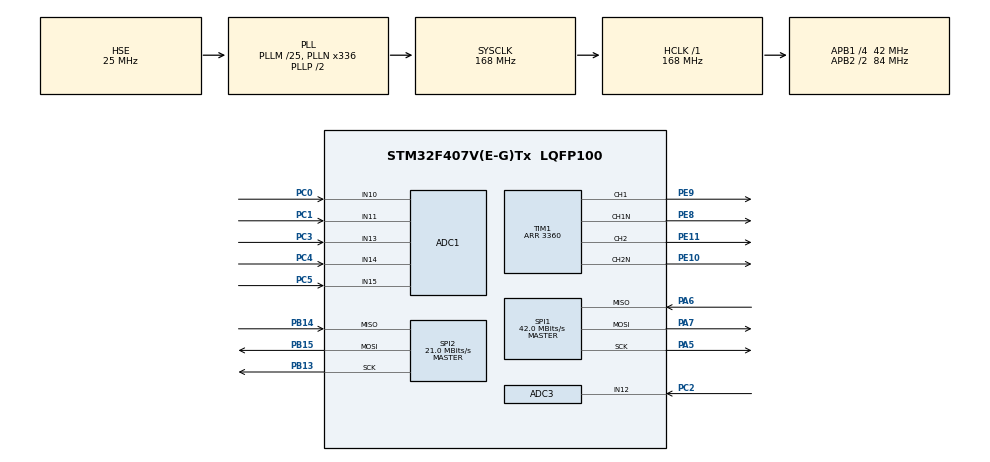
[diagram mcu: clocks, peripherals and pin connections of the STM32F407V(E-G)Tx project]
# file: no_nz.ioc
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ADC1.Channel=ADC_CHANNEL_14
ADC1.Channel-2\#ChannelRegularConversion=ADC_CHANNEL_10
ADC1.Channel-3\#ChannelRegularConversion=ADC_CHANNEL_11
ADC1.Channel-4\#ChannelRegularConversion=ADC_CHANNEL_13
ADC1.Channel-5\#ChannelRegularConversion=ADC_CHANNEL_14
ADC1.Channel-6\#ChannelRegularConversion=ADC_CHANNEL_15
ADC1.DMAContinuousRequests=ENABLE
ADC1.EOCSelection=EOC_SEQ_CONV
ADC1.ExternalTrigConv=ADC_EXTERNALTRIGCONV_T2_CC2
ADC1.ExternalTrigConvEdge=ADC_EXTERNALTRIGCONVEDGE_RISING
ADC1.NbrOfConversion=5
ADC1.Rank-3\#ChannelRegularConversion=2
ADC1.Rank-4\#ChannelRegularConversion=3
ADC1.Rank-5\#ChannelRegularConversion=4
ADC1.Rank-6\#ChannelRegularConversion=5
ADC1.SamplingTime-2\#ChannelRegularConversion=ADC_SAMPLETIME_15CYCLES
ADC1.SamplingTime-3\#ChannelRegularConversion=ADC_SAMPLETIME_15CYCLES
ADC1.SamplingTime-4\#ChannelRegularConversion=ADC_SAMPLETIME_15CYCLES
ADC1.SamplingTime-5\#ChannelRegularConversion=ADC_SAMPLETIME_15CYCLES
ADC1.SamplingTime-6\#ChannelRegularConversion=ADC_SAMPLETIME_15CYCLES
ADC1.ScanConvMode=ENABLE
ADC1.master=1
ADC3.Channel-0\#ChannelRegularConversion=ADC_CHANNEL_12
ADC3.DMAContinuousRequests=ENABLE
ADC3.ExternalTrigConvEdge=ADC_EXTERNALTRIGCONVEDGE_RISING
ADC3.Rank-0\#ChannelRegularConversion=1
ADC3.SamplingTime-0\#ChannelRegularConversion=ADC_SAMPLETIME_15CYCLES
Dma.ADC1.5.Channel=DMA_CHANNEL_0
Dma.ADC1.5.Direction=DMA_PERIPH_TO_MEMORY
Dma.ADC1.5.FIFOMode=DMA_FIFOMODE_DISABLE
Dma.ADC1.5.Instance=DMA2_Stream4
Dma.ADC1.5.MemDataAlignment=DMA_MDATAALIGN_HALFWORD
Dma.ADC1.5.MemInc=DMA_MINC_ENABLE
Dma.ADC1.5.Mode=DMA_CIRCULAR
Dma.ADC1.5.PeriphDataAlignment=DMA_PDATAALIGN_HALFWORD
Dma.ADC1.5.PeriphInc=DMA_PINC_DISABLE
Dma.ADC1.5.Priority=DMA_PRIORITY_LOW
Dma.ADC3.4.Channel=DMA_CHANNEL_2
Dma.ADC3.4.Direction=DMA_PERIPH_TO_MEMORY
Dma.ADC3.4.FIFOMode=DMA_FIFOMODE_DISABLE
Dma.ADC3.4.Instance=DMA2_Stream1
Dma.ADC3.4.MemDataAlignment=DMA_MDATAALIGN_HALFWORD
Dma.ADC3.4.MemInc=DMA_MINC_ENABLE
Dma.ADC3.4.Mode=DMA_CIRCULAR
Dma.ADC3.4.PeriphDataAlignment=DMA_PDATAALIGN_HALFWORD
Dma.ADC3.4.PeriphInc=DMA_PINC_DISABLE
Dma.ADC3.4.Priority=DMA_PRIORITY_HIGH
Dma.Request0=SPI2_RX
Dma.Request1=SPI2_TX
Dma.Request2=SPI1_TX
Dma.Request3=SPI1_RX
Dma.Request4=ADC3
Dma.Request5=ADC1
Dma.SPI1_RX.3.Channel=DMA_CHANNEL_3
Dma.SPI1_RX.3.Direction=DMA_PERIPH_TO_MEMORY
Dma.SPI1_RX.3.FIFOMode=DMA_FIFOMODE_DISABLE
Dma.SPI1_RX.3.Instance=DMA2_Stream0
Dma.SPI1_RX.3.MemDataAlignment=DMA_MDATAALIGN_BYTE
Dma.SPI1_RX.3.MemInc=DMA_MINC_ENABLE
Dma.SPI1_RX.3.Mode=DMA_NORMAL
Dma.SPI1_RX.3.PeriphDataAlignment=DMA_PDATAALIGN_BYTE
Dma.SPI1_RX.3.PeriphInc=DMA_PINC_DISABLE
Dma.SPI1_RX.3.Priority=DMA_PRIORITY_LOW
Dma.SPI1_TX.2.Channel=DMA_CHANNEL_3
Dma.SPI1_TX.2.Direction=DMA_MEMORY_TO_PERIPH
Dma.SPI1_TX.2.FIFOMode=DMA_FIFOMODE_DISABLE
Dma.SPI1_TX.2.Instance=DMA2_Stream3
Dma.SPI1_TX.2.MemDataAlignment=DMA_MDATAALIGN_BYTE
Dma.SPI1_TX.2.MemInc=DMA_MINC_ENABLE
Dma.SPI1_TX.2.Mode=DMA_NORMAL
Dma.SPI1_TX.2.PeriphDataAlignment=DMA_PDATAALIGN_BYTE
Dma.SPI1_TX.2.PeriphInc=DMA_PINC_DISABLE
Dma.SPI1_TX.2.Priority=DMA_PRIORITY_LOW
Dma.SPI2_RX.0.Channel=DMA_CHANNEL_0
Dma.SPI2_RX.0.Direction=DMA_PERIPH_TO_MEMORY
Dma.SPI2_RX.0.FIFOMode=DMA_FIFOMODE_DISABLE
Dma.SPI2_RX.0.Instance=DMA1_Stream3
Dma.SPI2_RX.0.MemDataAlignment=DMA_MDATAALIGN_BYTE
Dma.SPI2_RX.0.MemInc=DMA_MINC_ENABLE
Dma.SPI2_RX.0.Mode=DMA_NORMAL
Dma.SPI2_RX.0.PeriphDataAlignment=DMA_PDATAALIGN_BYTE
Dma.SPI2_RX.0.PeriphInc=DMA_PINC_DISABLE
Dma.SPI2_RX.0.Priority=DMA_PRIORITY_LOW
Dma.SPI2_TX.1.Channel=DMA_CHANNEL_0
Dma.SPI2_TX.1.Direction=DMA_MEMORY_TO_PERIPH
Dma.SPI2_TX.1.FIFOMode=DMA_FIFOMODE_DISABLE
Dma.SPI2_TX.1.Instance=DMA1_Stream4
Dma.SPI2_TX.1.MemDataAlignment=DMA_MDATAALIGN_BYTE
Dma.SPI2_TX.1.MemInc=DMA_MINC_ENABLE
Dma.SPI2_TX.1.Mode=DMA_NORMAL
Dma.SPI2_TX.1.PeriphDataAlignment=DMA_PDATAALIGN_BYTE
Dma.SPI2_TX.1.PeriphInc=DMA_PINC_DISABLE
Dma.SPI2_TX.1.Priority=DMA_PRIORITY_LOW
Mcu.Family=STM32F4
Mcu.Name=STM32F407V(E-G)Tx
Mcu.Package=LQFP100
NVIC.DMA1_Stream3_IRQn=true\:0\:0\:false
NVIC.DMA1_Stream4_IRQn=true\:0\:0\:false
NVIC.DMA2_Stream0_IRQn=true\:0\:0\:false
NVIC.DMA2_Stream1_IRQn=true\:0\:0\:false
NVIC.DMA2_Stream3_IRQn=true\:0\:0\:false
NVIC.DMA2_Stream4_IRQn=true\:0\:0\:false
NVIC.PriorityGroup=NVIC_PRIORITYGROUP_4
NVIC.SPI1_IRQn=true\:0\:0\:false
NVIC.SPI2_IRQn=true\:0\:0\:false
PA13.Mode=JTAG(5-pin)
PA13.Signal=SYS_JTMS-SWDIO
PA14.Mode=JTAG(5-pin)
PA14.Signal=SYS_JTCK-SWCLK
PA15.Mode=JTAG(5-pin)
PA15.Signal=SYS_JTDI
PA5.Mode=Full_Duplex_Master
PA5.Signal=SPI1_SCK
PA6.Mode=Full_Duplex_Master
PA6.Signal=SPI1_MISO
PA7.Mode=Full_Duplex_Master
PA7.Signal=SPI1_MOSI
PB13.Mode=Full_Duplex_Master
PB13.Signal=SPI2_SCK
PB14.Mode=Full_Duplex_Master
PB14.Signal=SPI2_MISO
PB15.Mode=Full_Duplex_Master
PB15.Signal=SPI2_MOSI
PB3.Mode=JTAG(5-pin)
PB3.Signal=SYS_JTDO-SWO
PB4.Mode=JTAG(5-pin)
PB4.Signal=SYS_JTRST
PC0.Signal=ADCx_IN10
PC1.Signal=ADCx_IN11
PC2.Signal=ADCx_IN12
PC3.Signal=ADCx_IN13
PC4.Signal=ADCx_IN14
PC5.Signal=ADCx_IN15
PE10.Mode=PWM Generation2 CH2 CH2N
PE10.Signal=TIM1_CH2N
PE11.Signal=S_TIM1_CH2
PE8.Mode=PWM Generation1 CH1 CH1N
PE8.Signal=TIM1_CH1N
PE9.Signal=S_TIM1_CH1
PH0-OSC_IN.Mode=HSE-External-Oscillator
PH0-OSC_IN.Signal=RCC_OSC_IN
PH1-OSC_OUT.Mode=HSE-External-Oscillator
PH1-OSC_OUT.Signal=RCC_OSC_OUT
ProjectManager.TargetToolchain=MDK-ARM V5
RCC.48MHZClocksFreq_Value=84000000
RCC.AHBFreq_Value=168000000
RCC.APB1CLKDivider=RCC_HCLK_DIV4
RCC.APB1Freq_Value=42000000
RCC.APB1TimFreq_Value=84000000
RCC.APB2CLKDivider=RCC_HCLK_DIV2
RCC.APB2Freq_Value=84000000
RCC.APB2TimFreq_Value=168000000
RCC.CortexFreq_Value=21000000
RCC.HCLKFreq_Value=168000000
RCC.HSE_VALUE=25000000
RCC.HSI_VALUE=16000000
RCC.LSE_VALUE=32768
RCC.PLLM=25
RCC.PLLN=336
RCC.PLLSource=RCC_PLLSOURCE_HSE
RCC.PLLSourceVirtual=RCC_PLLSOURCE_HSE
RCC.SYSCLKFreq_VALUE=168000000
RCC.SYSCLKSource=RCC_SYSCLKSOURCE_PLLCLK
RCC.VCOOutputFreq_Value=336000000
SH.ADCx_IN10.0=ADC1_IN10,IN10
SH.ADCx_IN11.0=ADC1_IN11,IN11
SH.ADCx_IN12.0=ADC3_IN12,IN12
SH.ADCx_IN13.0=ADC1_IN13,IN13
SH.ADCx_IN14.0=ADC1_IN14,IN14
SH.ADCx_IN15.0=ADC1_IN15,IN15
SH.S_TIM1_CH1.0=TIM1_CH1,PWM Generation1 CH1 CH1N
SH.S_TIM1_CH2.0=TIM1_CH2,PWM Generation2 CH2 CH2N
SPI1.CalculateBaudRate=42.0 MBits/s
SPI1.Mode=SPI_MODE_MASTER
SPI2.CalculateBaudRate=21.0 MBits/s
SPI2.Mode=SPI_MODE_MASTER
TIM1.Channel-PWM\ Generation2\ CH2\ CH2N=TIM_CHANNEL_2
TIM1.DeadTime=11
TIM1.Period=3360
TIM1.TIM_MasterOutputTrigger=TIM_TRGO_OC1REF
TIM2.Channel-Output\ Compare2\ No\ Output=TIM_CHANNEL_2
TIM2.Period=5040
TIM2.TIM_MasterOutputTrigger=TIM_TRGO_OC2REF
TIM2.TIM_MasterSlaveMode=TIM_MASTERSLAVEMODE_DISABLE
VP_TIM1_VS_ClockSourceINT.Mode=Internal
VP_TIM2_VS_ClockSourceINT.Mode=Internal
VP_TIM2_VS_no_output2.Mode=Output Compare2 No Output

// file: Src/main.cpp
/**
  ******************************************************************************
  * File Name          : main.c
  * Date               : 27/05/2015 14:56:54
  * Description        : Main program body
  ******************************************************************************
  *
  * COPYRIGHT(c) 2015 STMicroelectronics
  *
  * Redistribution and use in source and binary forms, with or without modification,
  * are permitted provided that the following conditions are met:
  *   1. Redistributions of source code must retain the above copyright notice,
  *      this list of conditions and the following disclaimer.
  *   2. Redistributions in binary form must reproduce the above copyright notice,
  *      this list of conditions and the following disclaimer in the documentation
  *      and/or other materials provided with the distribution.
  *   3. Neither the name of STMicroelectronics nor the names of its contributors
  *      may be used to endorse or promote products derived from this software
  *      without specific prior written permission.
  *
  * THIS SOFTWARE IS PROVIDED BY THE COPYRIGHT HOLDERS AND CONTRIBUTORS "AS IS"
  * AND ANY EXPRESS OR IMPLIED WARRANTIES, INCLUDING, BUT NOT LIMITED TO, THE
  * IMPLIED WARRANTIES OF MERCHANTABILITY AND FITNESS FOR A PARTICULAR PURPOSE ARE
  * DISCLAIMED. IN NO EVENT SHALL THE COPYRIGHT HOLDER OR CONTRIBUTORS BE LIABLE
  * FOR ANY DIRECT, INDIRECT, INCIDENTAL, SPECIAL, EXEMPLARY, OR CONSEQUENTIAL
  * DAMAGES (INCLUDING, BUT NOT LIMITED TO, PROCUREMENT OF SUBSTITUTE GOODS OR
  * SERVICES; LOSS OF USE, DATA, OR PROFITS; OR BUSINESS INTERRUPTION) HOWEVER
  * CAUSED AND ON ANY THEORY OF LIABILITY, WHETHER IN CONTRACT, STRICT LIABILITY,
  * OR TORT (INCLUDING NEGLIGENCE OR OTHERWISE) ARISING IN ANY WAY OUT OF THE USE
  * OF THIS SOFTWARE, EVEN IF ADVISED OF THE POSSIBILITY OF SUCH DAMAGE.
  *
  ******************************************************************************
  */

#include "stm32f4xx_hal.h"
#include "adc.h"
#include "dma.h"
#include "spi.h"
#include "tim.h"
#include "gpio.h"
#include "stdio.h"

#include "_Main_Loop\__Main_Loop.hpp"
#include "_Objects_Definitions\__ObjectsDefinitions.hpp"
#include "main.hpp"

using namespace std;
using namespace src;

extern DMA_HandleTypeDef hdma_spi1_tx;
extern DMA_HandleTypeDef hdma_spi1_rx;
extern DMA_HandleTypeDef hdma_spi2_rx;
extern DMA_HandleTypeDef hdma_spi2_tx;

//---------------------------------------------------------------------------------------------------------
//---------------------------------------------------------------------------------------------------------
//using namespace src;

void SystemClock_Config(void);

/* USER CODE BEGIN 0 */

uint16_t adc1_bufer[32], adc3_bufer[32];

/* USER CODE END 0 */
extern SPI_HandleTypeDef hspi1;
extern SPI_HandleTypeDef hspi2;

int main(void)
{

  /* MCU Configuration----------------------------------------------------------*/

  /* Reset of all peripherals, Initializes the Flash interface and the Systick. */
  HAL_Init();

  /* Configure the system clock */
  SystemClock_Config();

  /* Initialize all configured peripherals */
  MX_GPIO_Init();
  MX_DMA_Init();
  MX_ADC1_Init();
  MX_ADC3_Init();
  MX_SPI1_Init();
  MX_SPI2_Init();
  MX_TIM1_Init();
  MX_TIM2_Init();

  /* USER CODE BEGIN 2 */

  TIM1->CCR1 = 0x300;
  TIM1->CCR2 = 0x300;
  TIM2->CCR2 = 0x60;

  // Настройка deathTime
  pwm.init();
  pwmDeathTime.setValue(10);
  htim1.Instance->BDTR &= ~TIM_BDTR_DTG;
  htim1.Instance->BDTR |= pwm.computeDeathTime(pwmDeathTime.getValueFlt());

  HAL_TIM_Base_Start(&htim1);
  HAL_TIM_OC_Start(&htim2, TIM_CHANNEL_2);

  HAL_TIM_PWM_Start(&htim1,TIM_CHANNEL_1);
  HAL_TIM_PWM_Start(&htim1,TIM_CHANNEL_2);

  HAL_TIMEx_PWMN_Start(&htim1,TIM_CHANNEL_1);
  HAL_TIMEx_PWMN_Start(&htim1,TIM_CHANNEL_2);

  __HAL_RCC_DMA2_CLK_ENABLE();
  HAL_ADC_Start_DMA(&hadc1, (uint32_t*)adc1.getBufer(), adc1.getBuferSize());
  HAL_ADC_Start_DMA(&hadc3, (uint32_t*)adc3.getBufer(), adc3.getBuferSize());

  // Отключение ненужного прерывания DMA (отправлена половина данных) - экономия времени
 // Disable the peripheral
/*  __HAL_DMA_DISABLE(hadc1.DMA_Handle);
  __HAL_DMA_DISABLE(hadc3.DMA_Handle);

 // Enable the Half transfer complete interrupt
  __HAL_DMA_DISABLE_IT(hadc1.DMA_Handle, DMA_IT_HT);
  __HAL_DMA_DISABLE_IT(hadc3.DMA_Handle, DMA_IT_HT);

  // Enable the Peripheral
  __HAL_DMA_ENABLE(hadc1.DMA_Handle);
  __HAL_DMA_ENABLE(hadc3.DMA_Handle);

 // Disable the peripheral
  __HAL_DMA_DISABLE(&hdma_spi1_rx);
  __HAL_DMA_DISABLE(&hdma_spi1_tx);
  __HAL_DMA_DISABLE(&hdma_spi2_rx);
  __HAL_DMA_DISABLE(&hdma_spi2_tx);

  // Disable the Half transfer complete interrupt
  __HAL_DMA_DISABLE_IT(&hdma_spi1_rx, DMA_IT_HT);
  __HAL_DMA_DISABLE_IT(&hdma_spi1_tx, DMA_IT_HT);
  __HAL_DMA_DISABLE_IT(&hdma_spi2_rx, DMA_IT_HT);
  __HAL_DMA_DISABLE_IT(&hdma_spi2_tx, DMA_IT_HT);

  // Enable the Peripheral
  __HAL_DMA_ENABLE(&hdma_spi1_rx);
  __HAL_DMA_ENABLE(&hdma_spi1_tx);
  __HAL_DMA_ENABLE(&hdma_spi2_rx);
  __HAL_DMA_ENABLE(&hdma_spi2_tx);*/

  /* USER CODE END 2 */

  /* Infinite loop */
  /* USER CODE BEGIN WHILE */
      printf("Main test1\n");
      printf("Main test2\n");
      printf("Main test3\n");

  MainLoop();

  while (1)
  {
  /* USER CODE END WHILE */
  }

}

/** System Clock Configuration
*/
void SystemClock_Config(void)
{

  RCC_OscInitTypeDef RCC_OscInitStruct;
  RCC_ClkInitTypeDef RCC_ClkInitStruct;

  __PWR_CLK_ENABLE();

  __HAL_PWR_VOLTAGESCALING_CONFIG(PWR_REGULATOR_VOLTAGE_SCALE1);

  RCC_OscInitStruct.OscillatorType = RCC_OSCILLATORTYPE_HSE;
  RCC_OscInitStruct.HSEState = RCC_HSE_ON;
  RCC_OscInitStruct.PLL.PLLState = RCC_PLL_ON;
  RCC_OscInitStruct.PLL.PLLSource = RCC_PLLSOURCE_HSE;
  RCC_OscInitStruct.PLL.PLLM = 25;
  RCC_OscInitStruct.PLL.PLLN = 336;
  RCC_OscInitStruct.PLL.PLLP = RCC_PLLP_DIV2;
  RCC_OscInitStruct.PLL.PLLQ = 4;
  HAL_RCC_OscConfig(&RCC_OscInitStruct);

  RCC_ClkInitStruct.ClockType = RCC_CLOCKTYPE_SYSCLK|RCC_CLOCKTYPE_PCLK1
                              |RCC_CLOCKTYPE_PCLK2;
  RCC_ClkInitStruct.SYSCLKSource = RCC_SYSCLKSOURCE_PLLCLK;
  RCC_ClkInitStruct.AHBCLKDivider = RCC_SYSCLK_DIV1;
  RCC_ClkInitStruct.APB1CLKDivider = RCC_HCLK_DIV4;
  RCC_ClkInitStruct.APB2CLKDivider = RCC_HCLK_DIV2;
  HAL_RCC_ClockConfig(&RCC_ClkInitStruct, FLASH_LATENCY_5);

}

/************************ (C) COPYRIGHT STMicroelectronics *****END OF FILE****/
